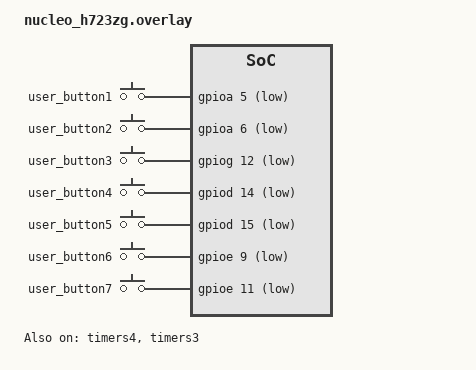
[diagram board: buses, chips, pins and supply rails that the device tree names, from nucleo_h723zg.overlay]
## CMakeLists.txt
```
# SPDX-License-Identifier: Apache-2.0

cmake_minimum_required(VERSION 3.20.0)
find_package(Zephyr REQUIRED HINTS $ENV{ZEPHYR_BASE})
project(hid-mouse)
zephyr_library_include_directories(.)
FILE(GLOB app_sources src/*.c)
target_sources(app PRIVATE ${app_sources})
```

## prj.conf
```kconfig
CONFIG_USB_DEVICE_STACK=y
CONFIG_USB_DEVICE_HID=y
CONFIG_USB_DEVICE_PRODUCT="Thrillis Button Box"
CONFIG_USB_DEVICE_PID=0x0007
CONFIG_USB_DEVICE_INITIALIZE_AT_BOOT=n

CONFIG_LOG=y
CONFIG_USB_DRIVER_LOG_LEVEL_ERR=y
CONFIG_USB_DEVICE_LOG_LEVEL_ERR=y

CONFIG_GPIO=y
CONFIG_INPUT=y
CONFIG_MULTITHREADING=y
CONFIG_SENSOR=y
```

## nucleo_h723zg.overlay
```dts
// To get started, press Ctrl+Space to bring up the completion menu and view the available nodes.

// You can also use the buttons in the sidebar to perform actions on nodes.
// Actions currently available include:

// * Enabling / disabling the node
// * Adding the bus to a bus
// * Removing the node
// * Connecting ADC channels

// For more help, browse the DeviceTree documentation at https: //docs.zephyrproject.org/latest/guides/dts/index.html
// You can also visit the nRF DeviceTree extension documentation at https: //nrfconnect.github.io/vscode-nrf-connect/devicetree/nrfdevicetree.html]
#include "button_defs.h"
/ {
    aliases {
        qdec0 = &qdec;
        qdec2 = &qdec2;
    };
    gpio_keys {
        compatible = "gpio-keys";
        debounce-interval-ms = <5>;
        user_button1: button_1 {
            gpios = <&gpioa 5 (GPIO_PULL_UP | GPIO_ACTIVE_LOW)>;
            zephyr,code = <HAT_BIT_CLICK>;
        };
        user_button2: button_2 {
            gpios = <&gpioa 6 (GPIO_PULL_UP | GPIO_ACTIVE_LOW)>;
            zephyr,code = <HAT_BIT_DOWN>;
        };
        user_button3: button_3 {
            gpios = <&gpiog 12 (GPIO_PULL_UP | GPIO_ACTIVE_LOW)>;
            zephyr,code = <HAT_BIT_RIGHT>;
        };
        user_button4: button_4 {
            gpios = <&gpiod 14 (GPIO_PULL_UP | GPIO_ACTIVE_LOW)>;
            zephyr,code = <HAT_BIT_LEFT>;
        };
        user_button5: button_5 {
            gpios = <&gpiod 15 (GPIO_PULL_UP | GPIO_ACTIVE_LOW)>;
            zephyr,code = <HAT_BIT_UP>;
        };

        user_button6: button_6 {
            gpios = <&gpioe 9 (GPIO_PULL_UP | GPIO_ACTIVE_LOW)>;
            zephyr,code = <BUTTON_0>;
        };
        user_button7: button_7 {
            gpios = <&gpioe 11 (GPIO_PULL_UP | GPIO_ACTIVE_LOW)>;
            zephyr,code = <BUTTON_1>;
        };
    };
};


&timers4 {
    status = "okay";

    qdec: qdec {
        status = "okay";
        compatible = "st,stm32-qdec";
        pinctrl-0 = <&tim4_ch1_pb6>, <&tim4_ch2_pb7>;
        pinctrl-names = "default";
        st,input-polarity-inverted;
        st,input-filter-level = <13>;
        st,counts-per-revolution = <30>;
    };
};

&timers3 {
    status = "okay";

    qdec2: qdec2 {
        status = "okay";
        compatible = "st,stm32-qdec";
        //pinctrl-0 = <&tim1_ch1_pe9>, <&tim1_ch2_pe11>;
        pinctrl-0 = <&tim3_ch1_pb4>, <&tim3_ch2_pb5>;//<&qdec_pinctrl>;//<&tim3_ch2_pc7>, <&tim3_ch3_pc8>;
        pinctrl-names = "default";
        st,input-polarity-inverted;
        st,input-filter-level = <13>;
        st,counts-per-revolution = <30>;
    };
};

&tim3_ch1_pb4 {
    bias-pull-up;
};

&tim3_ch2_pb5 {
    bias-pull-up;
};


&tim4_ch1_pb6 {
    bias-pull-up;
};

&tim4_ch2_pb7 {
    bias-pull-up;
};
```

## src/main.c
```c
/*
 * Copyright (c) 2018 qianfan Zhao
 * Copyright (c) 2018, 2023 Nordic Semiconductor ASA
 *
 * SPDX-License-Identifier: Apache-2.0
 */

#include <string.h>

#include <zephyr/kernel.h>
#include <zephyr/device.h>
#include <zephyr/drivers/gpio.h>
#include <zephyr/input/input.h>
#include <zephyr/sys/util.h>
#include <zephyr/drivers/sensor.h>
#include <zephyr/usb/usb_device.h>
#include <zephyr/usb/class/usb_hid.h>
#include "button_defs.h"
#include <zephyr/logging/log.h>

#define REPORT_SIZE 3
LOG_MODULE_REGISTER(main, LOG_LEVEL_INF);

K_MUTEX_DEFINE(test_mutex);

#define THREAD_REDLINE_PRIORITY 5
#define REDLINE_STACK_SIZE 500

K_THREAD_STACK_DEFINE(redline_stack_area, REDLINE_STACK_SIZE);
struct k_thread redline_thread_data;
#define REDLINE_DELAY_TIME K_MSEC(50)

static const struct gpio_dt_spec led0 = GPIO_DT_SPEC_GET(DT_ALIAS(led0), gpios);
#define ENCODER_COUNTS_PER_REV DT_PROP(DT_ALIAS(qdec0), st_counts_per_revolution)

const struct device *const dev_l = DEVICE_DT_GET(DT_ALIAS(qdec0));
const struct device *const dev_r = DEVICE_DT_GET(DT_ALIAS(qdec2));
struct sensor_value val;
struct sensor_value val2;

static const uint8_t hid_report_desc[] = {

	HID_USAGE_PAGE(HID_USAGE_GEN_DESKTOP),
	HID_USAGE(HID_USAGE_GEN_DESKTOP_GAMEPAD),
	HID_COLLECTION(HID_COLLECTION_APPLICATION),
	HID_USAGE_PAGE(HID_USAGE_GEN_BUTTON),
	HID_USAGE_MIN8(1),
	HID_USAGE_MAX8(16),
	HID_LOGICAL_MIN8(0),
	HID_LOGICAL_MAX8(1),
	HID_REPORT_SIZE(1),
	HID_REPORT_COUNT(16),
	HID_INPUT(0x02),

	HID_USAGE_PAGE(HID_USAGE_GEN_DESKTOP),
	HID_USAGE(HID_USAGE_GEN_HATSWITCH),
	HID_LOGICAL_MIN8(0),
	HID_LOGICAL_MAX8(7),
	// Physical Maximum  : 315 degrees (Optional)
	0x46, 0x3B, 0x01,
	HID_REPORT_SIZE(8),
	HID_REPORT_COUNT(1),
	// Unit: English Rotation/Angular Position 1 degree (Optional)
	0x65, 0x14,
	// Input: Data, Var, Abs, Null State
	HID_INPUT(0x42),
	HID_END_COLLECTION};
static enum usb_dc_status_code usb_status;

enum box_report_idx
{
	BUTTONS_G0_IDX = 0,
	BUTTONS_G1_IDX = 1,
	HAT_IDX = 2,

	BUTTONS_DOWN_IDX = 0,
	BUTTONS_UP_IDX = 1,
	HAT_CLICK_IDX = 2,
	BUTTON_0_IDX = 3,
	BUTTON_1_IDX = 4,

};

static uint8_t report[REPORT_SIZE];
static uint32_t report_buttons;
static uint32_t hat_bits;
static int loop_counter = 2;
static int clonks_to_clonk = 0;
static int angle_prev;
static K_SEM_DEFINE(report_sem, 0, 1);

static void status_cb(enum usb_dc_status_code status, const uint8_t *param)
{
	usb_status = status;
}

static ALWAYS_INLINE void rwup_if_suspended(void)
{
	if (IS_ENABLED(CONFIG_USB_DEVICE_REMOTE_WAKEUP))
	{
		if (usb_status == USB_DC_SUSPEND)
		{
			usb_wakeup_request();
			return;
		}
	}
}

static void input_cb(struct input_event *evt)
{
	k_mutex_lock(&test_mutex, K_FOREVER);
	LOG_INF("Input code %u value %d",
			evt->code, evt->value);
	switch (evt->code)
	{
	case HAT_BIT_UP:
		rwup_if_suspended();
		WRITE_BIT(hat_bits, HAT_BIT_UP, evt->value);

		break;
	case HAT_BIT_LEFT:
		rwup_if_suspended();
		WRITE_BIT(hat_bits, HAT_BIT_LEFT, evt->value);
		break;
	case HAT_BIT_RIGHT:
		rwup_if_suspended();
		WRITE_BIT(hat_bits, HAT_BIT_RIGHT, evt->value);
		break;
	case HAT_BIT_DOWN:
		rwup_if_suspended();
		WRITE_BIT(hat_bits, HAT_BIT_DOWN, evt->value);
		break;
	case HAT_BIT_CLICK:
		rwup_if_suspended();
		WRITE_BIT(hat_bits, HAT_BIT_CLICK, evt->value);
		break;

	case BUTTON_0:
		rwup_if_suspended();
		WRITE_BIT(report_buttons, BUTTON_0_IDX, evt->value);
		break;
	case BUTTON_1:
		rwup_if_suspended();
		WRITE_BIT(report_buttons, BUTTON_1_IDX, evt->value);
		break;

	default:
		return;
	}
	k_mutex_unlock(&test_mutex);
}

/// @brief Does a positive modulo operation so the stack exchange answer works
/// @param a Input
/// @param n Modulus
/// @return
int mod_positive(int a, int n)
{
	return (a % n + n) % n;
}

static void read_encoder()
{
	// do all the encoder memes

	// Up button
	if (clonks_to_clonk > 0)
	{
		WRITE_BIT(report_buttons, BUTTONS_DOWN_IDX, 0);

		if (loop_counter > 0)
		{
			// Push button
			WRITE_BIT(report_buttons, BUTTONS_UP_IDX, 1);
			loop_counter--;
		}
		else
		{
			// Release button
			WRITE_BIT(report_buttons, BUTTONS_UP_IDX, 0);
			loop_counter--;
			if (loop_counter == -1)
			{
				printk("LED set 0");
				clonks_to_clonk--;
				loop_counter = 2;
			}
		}
	}

	// Down button
	if (clonks_to_clonk < 0)
	{
		WRITE_BIT(report_buttons, BUTTONS_UP_IDX, 0);

		if (loop_counter > 0)
		{
			// Push button
			WRITE_BIT(report_buttons, BUTTONS_DOWN_IDX, 1);

			loop_counter--;
		}
		else
		{
			// Release button
			WRITE_BIT(report_buttons, BUTTONS_DOWN_IDX, 0);
			loop_counter--;
			if (loop_counter == -1)
			{
				clonks_to_clonk++;
				loop_counter = 2;
			}
		}
	}

	if (clonks_to_clonk == 0)
	{
		// reset
		loop_counter = 2;
		// release buttons
		WRITE_BIT(report_buttons, BUTTONS_DOWN_IDX, 0);
		WRITE_BIT(report_buttons, BUTTONS_UP_IDX, 0);
	}
	int rc;
	rc = sensor_sample_fetch(dev_l);
	if (rc != 0)
	{
		printk("Failed to fetch sample (%d)\n", rc);
		return 0;
	}
	rc = sensor_sample_fetch(dev_r);
	if (rc != 0)
	{
		printk("Failed to fetch sample (%d)\n", rc);
		return 0;
	}

	rc = sensor_channel_get(dev_l, SENSOR_CHAN_ROTATION, &val);
	if (rc != 0)
	{
		printk("Failed to get data (%d)\n", rc);
		return 0;
	}

	rc = sensor_sample_fetch(dev_l);
	if (rc != 0)
	{
		printk("Failed to fetch sample (%d)\n", rc);
		return 0;
	}

	rc = sensor_channel_get(dev_r, SENSOR_CHAN_ROTATION, &val2);
	if (rc != 0)
	{
		printk("Failed to get data (%d)\n", rc);
		return 0;
	}

	int a = val.val1 - angle_prev;

	a = mod_positive((a + 180), 360) - 180;

	angle_prev = val.val1;

	// printk("Delta = %d degrees\n", a);

	int clonks = a / (360 / ENCODER_COUNTS_PER_REV);
	clonks_to_clonk += clonks;
	printk("Clonks = %d clonks\n", clonks);
}

static uint8_t get_hat()
{
	uint8_t hat;

	// LOG_INF("Entering hat");
	// LOG_INF("Hat Bits : %d", hat_bits);
	if (hat_bits & 1 << HAT_BIT_CLICK)
	{

		LOG_INF("Centre hat clicked");
		switch (hat_bits & ~(1 << HAT_BIT_CLICK))
		{
		case 1 << HAT_BIT_UP:
			LOG_INF("UP");

			hat = HATSWITCH_UP;
			break;
		case 1 << HAT_BIT_DOWN:
			hat = HATSWITCH_DOWN;
			break;
		case 1 << HAT_BIT_LEFT:
			hat = HATSWITCH_LEFT;
			break;
		case 1 << HAT_BIT_RIGHT:
			hat = HATSWITCH_RIGHT;
			break;
		case 1 << HAT_BIT_UP | 1 << HAT_BIT_LEFT:
			hat = HATSWITCH_UPLEFT;
			break;
		case 1 << HAT_BIT_DOWN | 1 << HAT_BIT_LEFT:
			hat = HATSWITCH_DOWNLEFT;
			break;
		case 1 << HAT_BIT_UP | 1 << HAT_BIT_RIGHT:
			hat = HATSWITCH_UPRIGHT;
			break;
		case 1 << HAT_BIT_DOWN | 1 << HAT_BIT_RIGHT:
			hat = HATSWITCH_DOWNRIGHT;
			break;
		default:
			hat = HATSWITCH_NONE;
			break;
		}
	}
	else
	{
		hat = HATSWITCH_NONE;
	}

	if (hat_bits == 1 << HAT_BIT_CLICK)
	{
		WRITE_BIT(report_buttons, HAT_CLICK_IDX, 1);
	}
	else
	{
		WRITE_BIT(report_buttons, HAT_CLICK_IDX, 0);
	}

	return hat;
}

static void send_report(void)
{
	uint8_t tmp[REPORT_SIZE];
	(void)memcpy(tmp, report, sizeof(tmp));

	tmp[BUTTONS_G0_IDX] = (report_buttons & 0xFF);
	tmp[BUTTONS_G1_IDX] = (report_buttons >> 8);

	tmp[HAT_IDX] = get_hat();

	if (memcmp(tmp, report, sizeof(tmp)))
	{
		memcpy(report, tmp, sizeof(report));
		k_sem_give(&report_sem);
		LOG_INF("HII");
	}
}

INPUT_CALLBACK_DEFINE(NULL, input_cb);

void thread_red_line(void)
{
	while (1)
	{
		read_encoder();
		send_report();
		k_sleep(REDLINE_DELAY_TIME);
	}
}

int main(void)
{
	const struct device *hid_dev;
	int ret;

	if (!gpio_is_ready_dt(&led0))
	{
		LOG_ERR("LED device %s is not ready", led0.port->name);
		return 0;
	}

	hid_dev = device_get_binding("HID_0");
	if (hid_dev == NULL)
	{
		LOG_ERR("Cannot get USB HID Device");
		return 0;
	}

	ret = gpio_pin_configure_dt(&led0, GPIO_OUTPUT);
	if (ret < 0)
	{
		LOG_ERR("Failed to configure the LED pin, error: %d", ret);
		return 0;
	}

	usb_hid_register_device(hid_dev,
							hid_report_desc, sizeof(hid_report_desc),
							NULL);

	usb_hid_init(hid_dev);

	ret = usb_enable(status_cb);
	if (ret != 0)
	{
		LOG_ERR("Failed to enable USB");
		return 0;
	}

	k_tid_t my_tid = k_thread_create(&redline_thread_data, redline_stack_area,
									 K_THREAD_STACK_SIZEOF(redline_stack_area),
									 thread_red_line,
									 NULL, NULL, NULL,
									 THREAD_REDLINE_PRIORITY, 0, K_NO_WAIT);

	while (true)
	{
		//

		k_sem_take(&report_sem, K_FOREVER);
		ret = hid_int_ep_write(hid_dev, report, sizeof(report), NULL);

		if (ret)
		{
			LOG_ERR("HID write error, %d", ret);
		}

		/* Toggle LED on sent report */
		ret = gpio_pin_toggle(led0.port, led0.pin);
		if (ret < 0)
		{
			LOG_ERR("Failed to toggle the LED pin, error: %d", ret);
		}
		k_sleep(K_MSEC(20));
	}
	return 0;
}
```
